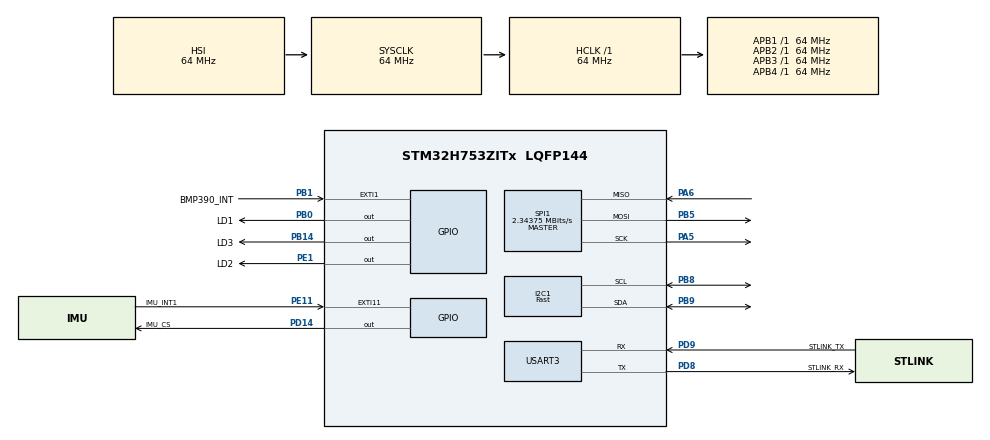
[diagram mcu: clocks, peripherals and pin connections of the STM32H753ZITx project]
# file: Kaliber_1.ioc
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CORTEX_M7.CPU_DCache=Disabled
CORTEX_M7.CPU_ICache=Disabled
CORTEX_M7.MPU_Control=__NULL
CORTEX_M7.default_mode_Activation=1
I2C1.I2C_Speed_Mode=I2C_Fast
I2C1.Timing=0x00602173
Mcu.Family=STM32H7
Mcu.Name=STM32H753ZITx
Mcu.Package=LQFP144
NVIC.EXTI15_10_IRQn=true\:2\:0\:true\:false\:true\:true\:true\:true
NVIC.EXTI1_IRQn=true\:5\:0\:true\:false\:true\:true\:true\:true
NVIC.PriorityGroup=NVIC_PRIORITYGROUP_4
PA5.Mode=Full_Duplex_Master
PA5.Signal=SPI1_SCK
PA6.Mode=Full_Duplex_Master
PA6.Signal=SPI1_MISO
PB0.GPIO_Label=LD1
PB0.Signal=GPIO_Output
PB1.GPIO_Label=BMP390_INT
PB1.Signal=GPXTI1
PB14.GPIO_Label=LD3
PB14.Signal=GPIO_Output
PB5.Mode=Full_Duplex_Master
PB5.Signal=SPI1_MOSI
PB8.Mode=I2C
PB8.Signal=I2C1_SCL
PB9.Mode=I2C
PB9.Signal=I2C1_SDA
PC14-OSC32_IN\ (OSC32_IN).Signal=RCC_OSC32_IN
PC15-OSC32_OUT\ (OSC32_OUT).Signal=RCC_OSC32_OUT
PD14.GPIO_Label=IMU_CS
PD14.GPIO_Speed=GPIO_SPEED_FREQ_MEDIUM
PD14.PinState=GPIO_PIN_SET
PD14.Signal=GPIO_Output
PD8.GPIO_Label=STLINK_RX
PD8.Mode=Asynchronous
PD8.Signal=USART3_TX
PD9.GPIO_Label=STLINK_TX
PD9.Mode=Asynchronous
PD9.Signal=USART3_RX
PE1.GPIO_Label=LD2
PE1.Signal=GPIO_Output
PE11.GPIO_Label=IMU_INT1
PE11.Signal=GPXTI11
PH0-OSC_IN\ (PH0).Signal=RCC_OSC_IN
PH1-OSC_OUT\ (PH1).Signal=RCC_OSC_OUT
ProjectManager.HeapSize=0x200
ProjectManager.StackSize=0x1000
ProjectManager.TargetToolchain=STM32CubeIDE
RCC.ADCFreq_Value=129000000
RCC.APB1Freq_Value=64000000
RCC.APB2Freq_Value=64000000
RCC.APB3Freq_Value=64000000
RCC.APB4Freq_Value=64000000
RCC.CortexFreq_Value=64000000
RCC.DIVM1=4
RCC.DIVN1=9
RCC.DIVQ1=1
RCC.HCLKFreq_Value=64000000
RCC.HSE_VALUE=8000000
RCC.PLLFRACN=3072
RCC.PWR_Regulator_Voltage_Scale=PWR_REGULATOR_VOLTAGE_SCALE2
RCC.SYSCLKFreq_VALUE=64000000
RCC.USBFreq_Value=150000000
SPI1.BaudRatePrescaler=SPI_BAUDRATEPRESCALER_64
SPI1.CLKPhase=SPI_PHASE_2EDGE
SPI1.CLKPolarity=SPI_POLARITY_HIGH
SPI1.CalculateBaudRate=2.34375 MBits/s
SPI1.DataSize=SPI_DATASIZE_8BIT
SPI1.Direction=SPI_DIRECTION_2LINES
SPI1.Mode=SPI_MODE_MASTER
SPI1.VirtualType=VM_MASTER
USART3.VirtualMode-Asynchronous=VM_ASYNC
VP_MEMORYMAP_VS_MEMORYMAP.Mode=CurAppReg
board=NUCLEO-H753ZI

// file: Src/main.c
/* USER CODE BEGIN Header */
/**
  ******************************************************************************
  * @file           : main.c
  * @brief          : Main program body
  ******************************************************************************
  * @attention
  *
  * Copyright (c) 2026 STMicroelectronics.
  * All rights reserved.
  *
  * This software is licensed under terms that can be found in the LICENSE file
  * in the root directory of this software component.
  * If no LICENSE file comes with this software, it is provided AS-IS.
  *
  ******************************************************************************
  * * HARDWARE WIRING INSTRUCTIONS:
  * * Connect Waveshare BMP390 (I2C) to the STM32 board using the following pinout:
  *
  * Sensor Pin   |   STM32 Pin         |  Wire Color
  * -------------|---------------------|-----------------------
  * VCC          |   3V3 (CN8)         |  Purple
  * GND          |   GND (CN8)         |  Orange
  * SDA          |   PB9 (D14) (I2C1)  |  Blue
  * SCL          |   PB8 (D15) (I2C1)  |  Yellow
  *
  * I2C Address: 0x77 (ADDR jumper bridged -> 0x76)
  *
  ******************************************************************************
  */
/* USER CODE END Header */
#include "main.h"

/* USER CODE BEGIN Includes */

#include <math.h>
#include <stdio.h>
#include "bmp390.h"

/* USER CODE END Includes */

/* USER CODE BEGIN PTD */

typedef struct
{
	float pressure_pa;
	float temperature_c;
	float altitude_m;
	float ground_pressure_pa;
} BMP390State_t;

/* USER CODE END PTD */

/* USER CODE BEGIN PD */

#define BMP390_I2C_ADDRESS  (0x77 << 1)  // Configures the address to 0xEE for HAL

/* USER CODE END PD */

I2C_HandleTypeDef hi2c1;

SPI_HandleTypeDef hspi1;

UART_HandleTypeDef huart3;

/* USER CODE BEGIN PV */
BMP390_t bmp_sensor;
volatile bool bmp390_data_ready = false;

BMP390State_t bmp390_state = {0};
/* USER CODE END PV */

void SystemClock_Config(void);
static void MX_GPIO_Init(void);
static void MX_I2C1_Init(void);
static void MX_USART3_UART_Init(void);
static void MX_SPI1_Init(void);

int main(void)
{

  /* MCU Configuration--------------------------------------------------------*/

  /* Reset of all peripherals, Initializes the Flash interface and the Systick. */
  HAL_Init();

  /* Configure the system clock */
  SystemClock_Config();

  /* Initialize all configured peripherals */
  MX_GPIO_Init();
  MX_I2C1_Init();
  MX_USART3_UART_Init();
  MX_SPI1_Init();
  /* USER CODE BEGIN 2 */

  bool bmp_ready = false;

  if (BMP390_Init(&bmp_sensor, &hi2c1))
  {
	  HAL_UART_Transmit(&huart3, (uint8_t*)"BMP390 Initialised successfully! Calibrating altitude...\r\n", 58, 100);

	  float pressure_sum = 0.0f;
	  int j = 0;

	  for (int i = 0; i < 10; i++)
	  {
		  HAL_Delay(25);
		  if (BMP390_ReadData(&bmp_sensor))
		  {
			  pressure_sum += bmp_sensor.pressure;
		  }
		  else
		  {
			  HAL_UART_Transmit(&huart3, (uint8_t*)"Calibration measurement failed, retrying...\r\n", 45, 100);
			  i--;
			  j++;

			  if (j >= 10)
			  {
				  HAL_UART_Transmit(&huart3, (uint8_t*)"BMP390 Calibration failed!\r\n", 28, 100);
				  break;
			  }
		  }
	  }
	  if (j < 10)
	  {
		  bmp390_state.ground_pressure_pa = pressure_sum / 10.0f;
		  HAL_UART_Transmit(&huart3, (uint8_t*)"Calibration Complete!\r\n", 23, 100);
	  }
	  else
	  {
		  bmp390_state.ground_pressure_pa = 101325.0f;
		  HAL_UART_Transmit(&huart3, (uint8_t*)"Using standard pressure fallback!\r\n", 35, 100);
	  }
	  bmp_ready = true;
  }
  else
  {
	  HAL_UART_Transmit(&huart3, (uint8_t*)"BMP390 Init failed!\r\n", 21, 100);
  }

  /* USER CODE END 2 */

  /* Infinite loop */
	while (1)
	{

    /* USER CODE BEGIN 3 */
		if (bmp_ready && bmp390_data_ready)
		{
			bmp390_data_ready = false;

			if (BMP390_ReadData(&bmp_sensor))
			{
				bmp390_state.pressure_pa = bmp_sensor.pressure;
				bmp390_state.temperature_c = bmp_sensor.temperature;
				bmp390_state.altitude_m = 44330.0f *(1.0f - powf(bmp390_state.pressure_pa / bmp390_state.ground_pressure_pa, 0.1903f));

				char uart_buf[64];
				int len = snprintf(uart_buf, sizeof(uart_buf),
								   "Alt: %.2f m (%.2f Pa) | Temp: %.2f C\r\n",
								   bmp390_state.altitude_m,
								   bmp390_state.pressure_pa,
								   bmp390_state.temperature_c);

				HAL_UART_Transmit(&huart3, (uint8_t*)uart_buf, len, 100);
			}
		}
	}
  /* USER CODE END 3 */
}

void SystemClock_Config(void)
{
  RCC_OscInitTypeDef RCC_OscInitStruct = {0};
  RCC_ClkInitTypeDef RCC_ClkInitStruct = {0};

  /** Supply configuration update enable
  */
  HAL_PWREx_ConfigSupply(PWR_LDO_SUPPLY);

  /** Configure the main internal regulator output voltage
  */
  __HAL_PWR_VOLTAGESCALING_CONFIG(PWR_REGULATOR_VOLTAGE_SCALE2);

  while(!__HAL_PWR_GET_FLAG(PWR_FLAG_VOSRDY)) {}

  /** Initializes the RCC Oscillators according to the specified parameters
  * in the RCC_OscInitTypeDef structure.
  */
  RCC_OscInitStruct.OscillatorType = RCC_OSCILLATORTYPE_HSI;
  RCC_OscInitStruct.HSIState = RCC_HSI_DIV1;
  RCC_OscInitStruct.HSICalibrationValue = RCC_HSICALIBRATION_DEFAULT;
  RCC_OscInitStruct.PLL.PLLState = RCC_PLL_ON;
  RCC_OscInitStruct.PLL.PLLSource = RCC_PLLSOURCE_HSI;
  RCC_OscInitStruct.PLL.PLLM = 4;
  RCC_OscInitStruct.PLL.PLLN = 9;
  RCC_OscInitStruct.PLL.PLLP = 2;
  RCC_OscInitStruct.PLL.PLLQ = 1;
  RCC_OscInitStruct.PLL.PLLR = 2;
  RCC_OscInitStruct.PLL.PLLRGE = RCC_PLL1VCIRANGE_3;
  RCC_OscInitStruct.PLL.PLLVCOSEL = RCC_PLL1VCOMEDIUM;
  RCC_OscInitStruct.PLL.PLLFRACN = 3072;
  if (HAL_RCC_OscConfig(&RCC_OscInitStruct) != HAL_OK)
  {
    Error_Handler();
  }

  /** Initializes the CPU, AHB and APB buses clocks
  */
  RCC_ClkInitStruct.ClockType = RCC_CLOCKTYPE_HCLK|RCC_CLOCKTYPE_SYSCLK
                              |RCC_CLOCKTYPE_PCLK1|RCC_CLOCKTYPE_PCLK2
                              |RCC_CLOCKTYPE_D3PCLK1|RCC_CLOCKTYPE_D1PCLK1;
  RCC_ClkInitStruct.SYSCLKSource = RCC_SYSCLKSOURCE_HSI;
  RCC_ClkInitStruct.SYSCLKDivider = RCC_SYSCLK_DIV1;
  RCC_ClkInitStruct.AHBCLKDivider = RCC_HCLK_DIV1;
  RCC_ClkInitStruct.APB3CLKDivider = RCC_APB3_DIV1;
  RCC_ClkInitStruct.APB1CLKDivider = RCC_APB1_DIV1;
  RCC_ClkInitStruct.APB2CLKDivider = RCC_APB2_DIV1;
  RCC_ClkInitStruct.APB4CLKDivider = RCC_APB4_DIV1;

  if (HAL_RCC_ClockConfig(&RCC_ClkInitStruct, FLASH_LATENCY_1) != HAL_OK)
  {
    Error_Handler();
  }
}

static void MX_I2C1_Init(void)
{

  hi2c1.Instance = I2C1;
  hi2c1.Init.Timing = 0x00602173;
  hi2c1.Init.OwnAddress1 = 0;
  hi2c1.Init.AddressingMode = I2C_ADDRESSINGMODE_7BIT;
  hi2c1.Init.DualAddressMode = I2C_DUALADDRESS_DISABLE;
  hi2c1.Init.OwnAddress2 = 0;
  hi2c1.Init.OwnAddress2Masks = I2C_OA2_NOMASK;
  hi2c1.Init.GeneralCallMode = I2C_GENERALCALL_DISABLE;
  hi2c1.Init.NoStretchMode = I2C_NOSTRETCH_DISABLE;
  if (HAL_I2C_Init(&hi2c1) != HAL_OK)
  {
    Error_Handler();
  }

  /** Configure Analogue filter
  */
  if (HAL_I2CEx_ConfigAnalogFilter(&hi2c1, I2C_ANALOGFILTER_ENABLE) != HAL_OK)
  {
    Error_Handler();
  }

  /** Configure Digital filter
  */
  if (HAL_I2CEx_ConfigDigitalFilter(&hi2c1, 0) != HAL_OK)
  {
    Error_Handler();
  }

}

static void MX_SPI1_Init(void)
{

  /* SPI1 parameter configuration*/
  hspi1.Instance = SPI1;
  hspi1.Init.Mode = SPI_MODE_MASTER;
  hspi1.Init.Direction = SPI_DIRECTION_2LINES;
  hspi1.Init.DataSize = SPI_DATASIZE_8BIT;
  hspi1.Init.CLKPolarity = SPI_POLARITY_HIGH;
  hspi1.Init.CLKPhase = SPI_PHASE_2EDGE;
  hspi1.Init.NSS = SPI_NSS_SOFT;
  hspi1.Init.BaudRatePrescaler = SPI_BAUDRATEPRESCALER_64;
  hspi1.Init.FirstBit = SPI_FIRSTBIT_MSB;
  hspi1.Init.TIMode = SPI_TIMODE_DISABLE;
  hspi1.Init.CRCCalculation = SPI_CRCCALCULATION_DISABLE;
  hspi1.Init.CRCPolynomial = 0x0;
  hspi1.Init.NSSPMode = SPI_NSS_PULSE_ENABLE;
  hspi1.Init.NSSPolarity = SPI_NSS_POLARITY_LOW;
  hspi1.Init.FifoThreshold = SPI_FIFO_THRESHOLD_01DATA;
  hspi1.Init.TxCRCInitializationPattern = SPI_CRC_INITIALIZATION_ALL_ZERO_PATTERN;
  hspi1.Init.RxCRCInitializationPattern = SPI_CRC_INITIALIZATION_ALL_ZERO_PATTERN;
  hspi1.Init.MasterSSIdleness = SPI_MASTER_SS_IDLENESS_00CYCLE;
  hspi1.Init.MasterInterDataIdleness = SPI_MASTER_INTERDATA_IDLENESS_00CYCLE;
  hspi1.Init.MasterReceiverAutoSusp = SPI_MASTER_RX_AUTOSUSP_DISABLE;
  hspi1.Init.MasterKeepIOState = SPI_MASTER_KEEP_IO_STATE_DISABLE;
  hspi1.Init.IOSwap = SPI_IO_SWAP_DISABLE;
  if (HAL_SPI_Init(&hspi1) != HAL_OK)
  {
    Error_Handler();
  }

}

static void MX_USART3_UART_Init(void)
{

  huart3.Instance = USART3;
  huart3.Init.BaudRate = 115200;
  huart3.Init.WordLength = UART_WORDLENGTH_8B;
  huart3.Init.StopBits = UART_STOPBITS_1;
  huart3.Init.Parity = UART_PARITY_NONE;
  huart3.Init.Mode = UART_MODE_TX_RX;
  huart3.Init.HwFlowCtl = UART_HWCONTROL_NONE;
  huart3.Init.OverSampling = UART_OVERSAMPLING_16;
  huart3.Init.OneBitSampling = UART_ONE_BIT_SAMPLE_DISABLE;
  huart3.Init.ClockPrescaler = UART_PRESCALER_DIV1;
  huart3.AdvancedInit.AdvFeatureInit = UART_ADVFEATURE_NO_INIT;
  if (HAL_UART_Init(&huart3) != HAL_OK)
  {
    Error_Handler();
  }
  if (HAL_UARTEx_SetTxFifoThreshold(&huart3, UART_TXFIFO_THRESHOLD_1_8) != HAL_OK)
  {
    Error_Handler();
  }
  if (HAL_UARTEx_SetRxFifoThreshold(&huart3, UART_RXFIFO_THRESHOLD_1_8) != HAL_OK)
  {
    Error_Handler();
  }
  if (HAL_UARTEx_DisableFifoMode(&huart3) != HAL_OK)
  {
    Error_Handler();
  }

}

static void MX_GPIO_Init(void)
{
  GPIO_InitTypeDef GPIO_InitStruct = {0};

  /* GPIO Ports Clock Enable */
  __HAL_RCC_GPIOC_CLK_ENABLE();
  __HAL_RCC_GPIOH_CLK_ENABLE();
  __HAL_RCC_GPIOA_CLK_ENABLE();
  __HAL_RCC_GPIOB_CLK_ENABLE();
  __HAL_RCC_GPIOE_CLK_ENABLE();
  __HAL_RCC_GPIOD_CLK_ENABLE();

  /*Configure GPIO pin Output Level */
  HAL_GPIO_WritePin(GPIOB, LD1_Pin|LD3_Pin, GPIO_PIN_RESET);

  /*Configure GPIO pin Output Level */
  HAL_GPIO_WritePin(IMU_CS_GPIO_Port, IMU_CS_Pin, GPIO_PIN_SET);

  /*Configure GPIO pin Output Level */
  HAL_GPIO_WritePin(LD2_GPIO_Port, LD2_Pin, GPIO_PIN_RESET);

  /*Configure GPIO pins : LD1_Pin LD3_Pin */
  GPIO_InitStruct.Pin = LD1_Pin|LD3_Pin;
  GPIO_InitStruct.Mode = GPIO_MODE_OUTPUT_PP;
  GPIO_InitStruct.Pull = GPIO_NOPULL;
  GPIO_InitStruct.Speed = GPIO_SPEED_FREQ_LOW;
  HAL_GPIO_Init(GPIOB, &GPIO_InitStruct);

  /*Configure GPIO pin : BMP390_INT_Pin */
  GPIO_InitStruct.Pin = BMP390_INT_Pin;
  GPIO_InitStruct.Mode = GPIO_MODE_IT_RISING;
  GPIO_InitStruct.Pull = GPIO_NOPULL;
  HAL_GPIO_Init(BMP390_INT_GPIO_Port, &GPIO_InitStruct);

  /*Configure GPIO pin : IMU_INT1_Pin */
  GPIO_InitStruct.Pin = IMU_INT1_Pin;
  GPIO_InitStruct.Mode = GPIO_MODE_IT_RISING;
  GPIO_InitStruct.Pull = GPIO_NOPULL;
  HAL_GPIO_Init(IMU_INT1_GPIO_Port, &GPIO_InitStruct);

  /*Configure GPIO pin : IMU_CS_Pin */
  GPIO_InitStruct.Pin = IMU_CS_Pin;
  GPIO_InitStruct.Mode = GPIO_MODE_OUTPUT_PP;
  GPIO_InitStruct.Pull = GPIO_NOPULL;
  GPIO_InitStruct.Speed = GPIO_SPEED_FREQ_MEDIUM;
  HAL_GPIO_Init(IMU_CS_GPIO_Port, &GPIO_InitStruct);

  /*Configure GPIO pin : LD2_Pin */
  GPIO_InitStruct.Pin = LD2_Pin;
  GPIO_InitStruct.Mode = GPIO_MODE_OUTPUT_PP;
  GPIO_InitStruct.Pull = GPIO_NOPULL;
  GPIO_InitStruct.Speed = GPIO_SPEED_FREQ_LOW;
  HAL_GPIO_Init(LD2_GPIO_Port, &GPIO_InitStruct);

  /* EXTI interrupt init*/
  HAL_NVIC_SetPriority(BMP390_INT_EXTI_IRQn, 5, 0);
  HAL_NVIC_EnableIRQ(BMP390_INT_EXTI_IRQn);

  HAL_NVIC_SetPriority(IMU_INT1_EXTI_IRQn, 2, 0);
  HAL_NVIC_EnableIRQ(IMU_INT1_EXTI_IRQn);

}

/* USER CODE BEGIN 4 */

void HAL_GPIO_EXTI_Callback(uint16_t GPIO_Pin)
{
	if (GPIO_Pin == BMP390_INT_Pin)
	{
		bmp390_data_ready = true;
	}
}

/* USER CODE END 4 */

void Error_Handler(void)
{
  __disable_irq();
  while (1)
  {
  }
}
